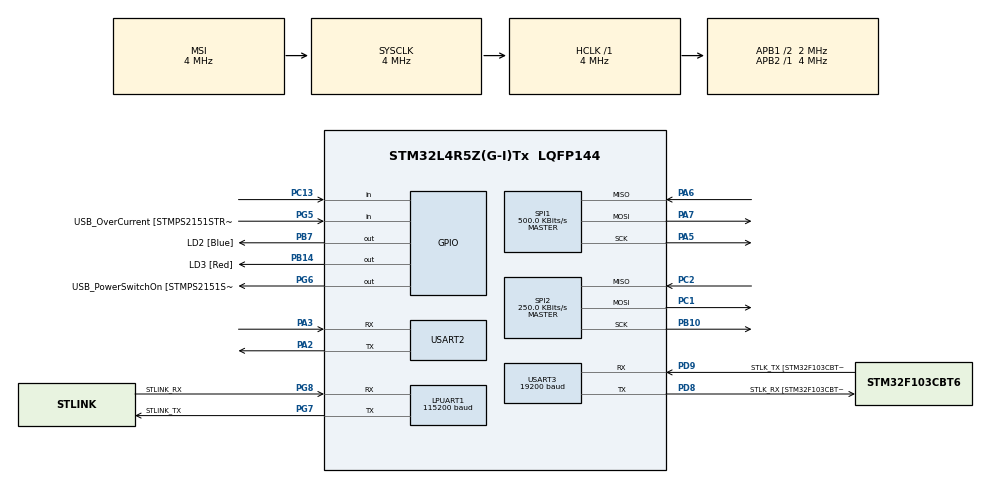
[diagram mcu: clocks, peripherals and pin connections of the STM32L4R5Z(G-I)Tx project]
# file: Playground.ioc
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LPUART1.BaudRate=115200
LPUART1.WordLength=UART_WORDLENGTH_8B
Mcu.Family=STM32L4
Mcu.Name=STM32L4R5Z(G-I)Tx
Mcu.Package=LQFP144
NVIC.PriorityGroup=NVIC_PRIORITYGROUP_4
PA10.GPIO_Label=USB_ID
PA10.Signal=USB_OTG_FS_ID
PA11.GPIO_Label=USB_DM
PA11.Signal=USB_OTG_FS_DM
PA12.GPIO_Label=USB_DP
PA12.Signal=USB_OTG_FS_DP
PA13\ (JTMS/SWDIO).GPIO_Label=TMS
PA13\ (JTMS/SWDIO).Mode=Trace_Asynchronous_SW
PA13\ (JTMS/SWDIO).Signal=SYS_JTMS-SWDIO
PA14\ (JTCK/SWCLK).GPIO_Label=TCK
PA14\ (JTCK/SWCLK).Mode=Trace_Asynchronous_SW
PA14\ (JTCK/SWCLK).Signal=SYS_JTCK-SWCLK
PA2.Mode=Asynchronous
PA2.Signal=USART2_TX
PA3.Mode=Asynchronous
PA3.Signal=USART2_RX
PA5.Mode=Full_Duplex_Master
PA5.Signal=SPI1_SCK
PA6.Mode=Full_Duplex_Master
PA6.Signal=SPI1_MISO
PA7.Mode=Full_Duplex_Master
PA7.Signal=SPI1_MOSI
PA8.GPIO_Label=USB_SOF [TP1]
PA8.Signal=USB_OTG_FS_SOF
PA9.GPIO_Label=USB_VBUS
PA9.Signal=USB_OTG_FS_VBUS
PB10.Mode=Full_Duplex_Master
PB10.Signal=SPI2_SCK
PB14.GPIO_Label=LD3 [Red]
PB14.Signal=GPIO_Output
PB3\ (JTDO/TRACESWO).GPIO_Label=SWO
PB3\ (JTDO/TRACESWO).Mode=Trace_Asynchronous_SW
PB3\ (JTDO/TRACESWO).Signal=SYS_JTDO-SWO
PB7.GPIO_Label=LD2 [Blue]
PB7.Signal=GPIO_Output
PC1.Mode=Full_Duplex_Master
PC1.Signal=SPI2_MOSI
PC13.Signal=GPIO_Input
PC14-OSC32_IN\ (PC14).Mode=LSE-External-Oscillator
PC14-OSC32_IN\ (PC14).Signal=RCC_OSC32_IN
PC15-OSC32_OUT\ (PC15).Mode=LSE-External-Oscillator
PC15-OSC32_OUT\ (PC15).Signal=RCC_OSC32_OUT
PC2.Mode=Full_Duplex_Master
PC2.Signal=SPI2_MISO
PD8.GPIO_Label=STLK_RX [STM32F103CBT6_PA3]
PD8.Mode=Asynchronous
PD8.Signal=USART3_TX
PD9.GPIO_Label=STLK_TX [STM32F103CBT6_PA2]
PD9.Mode=Asynchronous
PD9.Signal=USART3_RX
PG5.GPIO_Label=USB_OverCurrent [STMPS2151STR_FAULT]
PG5.Signal=GPIO_Input
PG6.GPIO_Label=USB_PowerSwitchOn [STMPS2151STR_En]
PG6.Signal=GPIO_Output
PG7.GPIO_Label=STLINK_TX
PG7.Mode=Asynchronous
PG7.Signal=LPUART1_TX
PG8.GPIO_Label=STLINK_RX
PG8.Mode=Asynchronous
PG8.Signal=LPUART1_RX
PH0-OSC_IN\ (PH0).Mode=HSE-External-Clock-Source
PH0-OSC_IN\ (PH0).Signal=RCC_OSC_IN
PH1-OSC_OUT\ (PH1).Signal=RCC_OSC_OUT
ProjectManager.HeapSize=0x200
ProjectManager.StackSize=0x400
ProjectManager.TargetToolchain=STM32CubeIDE
RCC.48MHZClocksFreq_Value=24000000
RCC.AHBFreq_Value=4000000
RCC.APB1CLKDivider=RCC_HCLK_DIV2
RCC.APB1Freq_Value=2000000
RCC.APB1TimFreq_Value=4000000
RCC.APB2Freq_Value=4000000
RCC.APB2TimFreq_Value=4000000
RCC.CortexFreq_Value=4000000
RCC.HCLKFreq_Value=4000000
RCC.HSE_VALUE=8000000
RCC.HSI48_VALUE=48000000
RCC.HSI_VALUE=16000000
RCC.MSI_VALUE=4000000
RCC.PLLMUL=RCC_PLL_MUL9
RCC.PRESCALERUSB=RCC_USBCLKSOURCE_PLL_DIV1_5
RCC.SYSCLKFreq_VALUE=4000000
RCC.SYSCLKSourceVirtual=RCC_SYSCLKSOURCE_PLLCLK
RCC.USBFreq_Value=16000000
RCC.VCOOutputFreq_Value=32000000
SPI1.BaudRatePrescaler=SPI_BAUDRATEPRESCALER_8
SPI1.CalculateBaudRate=500.0 KBits/s
SPI1.DataSize=SPI_DATASIZE_8BIT
SPI1.Direction=SPI_DIRECTION_2LINES
SPI1.Mode=SPI_MODE_MASTER
SPI1.VirtualType=VM_MASTER
SPI2.BaudRatePrescaler=SPI_BAUDRATEPRESCALER_8
SPI2.CalculateBaudRate=250.0 KBits/s
SPI2.DataSize=SPI_DATASIZE_8BIT
SPI2.Direction=SPI_DIRECTION_2LINES
SPI2.Mode=SPI_MODE_MASTER
SPI2.VirtualType=VM_MASTER
USART2.VirtualMode-Asynchronous=VM_ASYNC
USART3.BaudRate=19200
USART3.VirtualMode-Asynchronous=VM_ASYNC
board=NUCLEO-L4R5ZI

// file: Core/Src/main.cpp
/* USER CODE BEGIN Header */
/**
 ******************************************************************************
 * @file           : main.c
 * @brief          : Main program body
 ******************************************************************************
 * @attention
 *
 * Copyright (c) 2025 STMicroelectronics.
 * All rights reserved.
 *
 * This software is licensed under terms that can be found in the LICENSE file
 * in the root directory of this software component.
 * If no LICENSE file comes with this software, it is provided AS-IS.
 *
 ******************************************************************************
 */
/* USER CODE END Header */
#include "main.h"

/* USER CODE BEGIN Includes */
#include <cstdio>
#include "Pixy2UART.h"
#include "Playground.h"
/* USER CODE END Includes */

UART_HandleTypeDef hlpuart1;
UART_HandleTypeDef huart2;
UART_HandleTypeDef huart3;

SPI_HandleTypeDef hspi1;
SPI_HandleTypeDef hspi2;

/* USER CODE BEGIN PV */
APA102_LED led_strip[NUM_LEDS];
Pixy2UART pixy;
enum GameState {
	INIT, START_RUN, IN_RUN, END_RUN
};
GameState game_state = INIT;
Car car_arry[NUM_CARS];
Playground playground;
uint32_t run_start_time;
int num_run = 0;
/* USER CODE END PV */

void SystemClock_Config(void);
static void MX_GPIO_Init(void);
static void MX_USART2_UART_Init(void);
static void MX_SPI1_Init(void);
static void MX_USART3_UART_Init(void);
static void MX_LPUART1_UART_Init(void);
static void MX_SPI2_Init(void);
/* USER CODE BEGIN PFP */
void DWT_Init(void);
bool is_button_pressed();

/* USER CODE END PFP */

int main(void)
{

  /* MCU Configuration--------------------------------------------------------*/

  /* Reset of all peripherals, Initializes the Flash interface and the Systick. */
  HAL_Init();

  /* Configure the system clock */
  SystemClock_Config();

  /* Initialize all configured peripherals */
  MX_GPIO_Init();
  MX_USART2_UART_Init();
  MX_SPI1_Init();
  MX_USART3_UART_Init();
  MX_LPUART1_UART_Init();
  MX_SPI2_Init();
  /* USER CODE BEGIN 2 */
	DWT_Init();

	playground.init();
  /* USER CODE END 2 */

  /* Infinite loop */
	while (1) {

    /* USER CODE BEGIN 3 */
		switch (game_state) {
			case INIT:{
				/* Start a new round when the blue button is pressed */
				if (is_button_pressed()) {
					game_state = START_RUN;
				} else {
					game_state = INIT;
				}
				playground.clear();
				HAL_Delay(200);
				playground.start_video();
				num_run = 0;

				break;
			}
			case START_RUN: {
				/* Randomly choose 10 lights to light up */
				playground.clear();
				playground.generate_random_spots(NUM_SPOTS);
				game_state = IN_RUN;
				run_start_time = HAL_GetTick();
				break;
			}
			case IN_RUN: {
				/* Capture the position from PixyCam */
				pixy.ccc.getBlocks();

				/* Update each car's position */
				for (int i = 0; i < NUM_CARS; i++)
					car_arry[i].clear_position();

				uint8_t num_blocks = pixy.ccc.numBlocks;
				if (num_blocks) {
					for (int i = 0; i < num_blocks; i++) {

						uint16_t sig = pixy.ccc.blocks[i].m_signature;
						uint16_t x = pixy.ccc.blocks[i].m_x;
						uint16_t y = pixy.ccc.blocks[i].m_y;
						printf("Detected Block: sig: %d, x: %d, y:%d.\r\n",sig,x,y);
						car_arry[sig - 1].update_position(x, y);
					}

					/* Check occupancies for each spot */
					for (int i = 0; i < NUM_LEDS; i++) {
						for (int j = 0; j < NUM_CARS; j++) {
							int is_occupied = playground.check_occupency(i, car_arry[j].get_position());
							if (is_occupied)
								playground.occupy(i, j);
						}
					}
				}

				/* If timeout or all spots are occupied, end this run */
				if (HAL_GetTick() - run_start_time > RUN_TIMEOUT
						|| playground.is_all_occupied()) {
					HAL_Delay(500);
					game_state = END_RUN;
				}

				break;
			}
			case END_RUN:{
				/* update the number of runs and clear the playground */
				num_run++;
				playground.clear();
				/* if all NUM_RUNS has finished, display the winner */
				if (num_run >= NUM_RUNS) {
					playground.display_result();
					game_state = INIT;
					HAL_Delay(5000);

				} else {
					game_state = START_RUN;
					HAL_Delay(100);
				}

				break;
			}
			default:
				break;
		}
	}
  /* USER CODE END 3 */
}

void SystemClock_Config(void)
{
  RCC_OscInitTypeDef RCC_OscInitStruct = {0};
  RCC_ClkInitTypeDef RCC_ClkInitStruct = {0};

  /** Configure the main internal regulator output voltage
  */
  if (HAL_PWREx_ControlVoltageScaling(PWR_REGULATOR_VOLTAGE_SCALE1) != HAL_OK)
  {
    Error_Handler();
  }

  /** Initializes the RCC Oscillators according to the specified parameters
  * in the RCC_OscInitTypeDef structure.
  */
  RCC_OscInitStruct.OscillatorType = RCC_OSCILLATORTYPE_MSI;
  RCC_OscInitStruct.MSIState = RCC_MSI_ON;
  RCC_OscInitStruct.MSICalibrationValue = 0;
  RCC_OscInitStruct.MSIClockRange = RCC_MSIRANGE_6;
  RCC_OscInitStruct.PLL.PLLState = RCC_PLL_NONE;
  if (HAL_RCC_OscConfig(&RCC_OscInitStruct) != HAL_OK)
  {
    Error_Handler();
  }

  /** Initializes the CPU, AHB and APB buses clocks
  */
  RCC_ClkInitStruct.ClockType = RCC_CLOCKTYPE_HCLK|RCC_CLOCKTYPE_SYSCLK
                              |RCC_CLOCKTYPE_PCLK1|RCC_CLOCKTYPE_PCLK2;
  RCC_ClkInitStruct.SYSCLKSource = RCC_SYSCLKSOURCE_MSI;
  RCC_ClkInitStruct.AHBCLKDivider = RCC_SYSCLK_DIV1;
  RCC_ClkInitStruct.APB1CLKDivider = RCC_HCLK_DIV2;
  RCC_ClkInitStruct.APB2CLKDivider = RCC_HCLK_DIV1;

  if (HAL_RCC_ClockConfig(&RCC_ClkInitStruct, FLASH_LATENCY_0) != HAL_OK)
  {
    Error_Handler();
  }
}

static void MX_LPUART1_UART_Init(void)
{

  hlpuart1.Instance = LPUART1;
  hlpuart1.Init.BaudRate = 115200;
  hlpuart1.Init.WordLength = UART_WORDLENGTH_8B;
  hlpuart1.Init.StopBits = UART_STOPBITS_1;
  hlpuart1.Init.Parity = UART_PARITY_NONE;
  hlpuart1.Init.Mode = UART_MODE_TX_RX;
  hlpuart1.Init.HwFlowCtl = UART_HWCONTROL_NONE;
  hlpuart1.Init.OneBitSampling = UART_ONE_BIT_SAMPLE_DISABLE;
  hlpuart1.Init.ClockPrescaler = UART_PRESCALER_DIV1;
  hlpuart1.AdvancedInit.AdvFeatureInit = UART_ADVFEATURE_NO_INIT;
  hlpuart1.FifoMode = UART_FIFOMODE_DISABLE;
  if (HAL_UART_Init(&hlpuart1) != HAL_OK)
  {
    Error_Handler();
  }
  if (HAL_UARTEx_SetTxFifoThreshold(&hlpuart1, UART_TXFIFO_THRESHOLD_1_8) != HAL_OK)
  {
    Error_Handler();
  }
  if (HAL_UARTEx_SetRxFifoThreshold(&hlpuart1, UART_RXFIFO_THRESHOLD_1_8) != HAL_OK)
  {
    Error_Handler();
  }
  if (HAL_UARTEx_DisableFifoMode(&hlpuart1) != HAL_OK)
  {
    Error_Handler();
  }

}

static void MX_USART2_UART_Init(void)
{

  huart2.Instance = USART2;
  huart2.Init.BaudRate = 115200;
  huart2.Init.WordLength = UART_WORDLENGTH_8B;
  huart2.Init.StopBits = UART_STOPBITS_1;
  huart2.Init.Parity = UART_PARITY_NONE;
  huart2.Init.Mode = UART_MODE_TX_RX;
  huart2.Init.HwFlowCtl = UART_HWCONTROL_NONE;
  huart2.Init.OverSampling = UART_OVERSAMPLING_16;
  huart2.Init.OneBitSampling = UART_ONE_BIT_SAMPLE_DISABLE;
  huart2.Init.ClockPrescaler = UART_PRESCALER_DIV1;
  huart2.AdvancedInit.AdvFeatureInit = UART_ADVFEATURE_NO_INIT;
  if (HAL_UART_Init(&huart2) != HAL_OK)
  {
    Error_Handler();
  }
  if (HAL_UARTEx_SetTxFifoThreshold(&huart2, UART_TXFIFO_THRESHOLD_1_8) != HAL_OK)
  {
    Error_Handler();
  }
  if (HAL_UARTEx_SetRxFifoThreshold(&huart2, UART_RXFIFO_THRESHOLD_1_8) != HAL_OK)
  {
    Error_Handler();
  }
  if (HAL_UARTEx_DisableFifoMode(&huart2) != HAL_OK)
  {
    Error_Handler();
  }

}

static void MX_USART3_UART_Init(void)
{

  huart3.Instance = USART3;
  huart3.Init.BaudRate = 19200;
  huart3.Init.WordLength = UART_WORDLENGTH_8B;
  huart3.Init.StopBits = UART_STOPBITS_1;
  huart3.Init.Parity = UART_PARITY_NONE;
  huart3.Init.Mode = UART_MODE_TX_RX;
  huart3.Init.HwFlowCtl = UART_HWCONTROL_NONE;
  huart3.Init.OverSampling = UART_OVERSAMPLING_16;
  huart3.Init.OneBitSampling = UART_ONE_BIT_SAMPLE_DISABLE;
  huart3.Init.ClockPrescaler = UART_PRESCALER_DIV1;
  huart3.AdvancedInit.AdvFeatureInit = UART_ADVFEATURE_NO_INIT;
  if (HAL_UART_Init(&huart3) != HAL_OK)
  {
    Error_Handler();
  }
  if (HAL_UARTEx_SetTxFifoThreshold(&huart3, UART_TXFIFO_THRESHOLD_1_8) != HAL_OK)
  {
    Error_Handler();
  }
  if (HAL_UARTEx_SetRxFifoThreshold(&huart3, UART_RXFIFO_THRESHOLD_1_8) != HAL_OK)
  {
    Error_Handler();
  }
  if (HAL_UARTEx_DisableFifoMode(&huart3) != HAL_OK)
  {
    Error_Handler();
  }

}

static void MX_SPI1_Init(void)
{

  /* SPI1 parameter configuration*/
  hspi1.Instance = SPI1;
  hspi1.Init.Mode = SPI_MODE_MASTER;
  hspi1.Init.Direction = SPI_DIRECTION_2LINES;
  hspi1.Init.DataSize = SPI_DATASIZE_8BIT;
  hspi1.Init.CLKPolarity = SPI_POLARITY_LOW;
  hspi1.Init.CLKPhase = SPI_PHASE_1EDGE;
  hspi1.Init.NSS = SPI_NSS_SOFT;
  hspi1.Init.BaudRatePrescaler = SPI_BAUDRATEPRESCALER_8;
  hspi1.Init.FirstBit = SPI_FIRSTBIT_MSB;
  hspi1.Init.TIMode = SPI_TIMODE_DISABLE;
  hspi1.Init.CRCCalculation = SPI_CRCCALCULATION_DISABLE;
  hspi1.Init.CRCPolynomial = 7;
  hspi1.Init.CRCLength = SPI_CRC_LENGTH_DATASIZE;
  hspi1.Init.NSSPMode = SPI_NSS_PULSE_ENABLE;
  if (HAL_SPI_Init(&hspi1) != HAL_OK)
  {
    Error_Handler();
  }

}

static void MX_SPI2_Init(void)
{

  /* SPI2 parameter configuration*/
  hspi2.Instance = SPI2;
  hspi2.Init.Mode = SPI_MODE_MASTER;
  hspi2.Init.Direction = SPI_DIRECTION_2LINES;
  hspi2.Init.DataSize = SPI_DATASIZE_8BIT;
  hspi2.Init.CLKPolarity = SPI_POLARITY_LOW;
  hspi2.Init.CLKPhase = SPI_PHASE_1EDGE;
  hspi2.Init.NSS = SPI_NSS_SOFT;
  hspi2.Init.BaudRatePrescaler = SPI_BAUDRATEPRESCALER_8;
  hspi2.Init.FirstBit = SPI_FIRSTBIT_MSB;
  hspi2.Init.TIMode = SPI_TIMODE_DISABLE;
  hspi2.Init.CRCCalculation = SPI_CRCCALCULATION_DISABLE;
  hspi2.Init.CRCPolynomial = 7;
  hspi2.Init.CRCLength = SPI_CRC_LENGTH_DATASIZE;
  hspi2.Init.NSSPMode = SPI_NSS_PULSE_ENABLE;
  if (HAL_SPI_Init(&hspi2) != HAL_OK)
  {
    Error_Handler();
  }

}

static void MX_GPIO_Init(void)
{
  GPIO_InitTypeDef GPIO_InitStruct = {0};

  /* GPIO Ports Clock Enable */
  __HAL_RCC_GPIOC_CLK_ENABLE();
  __HAL_RCC_GPIOH_CLK_ENABLE();
  __HAL_RCC_GPIOA_CLK_ENABLE();
  __HAL_RCC_GPIOB_CLK_ENABLE();
  __HAL_RCC_GPIOD_CLK_ENABLE();
  __HAL_RCC_GPIOG_CLK_ENABLE();
  HAL_PWREx_EnableVddIO2();

  /*Configure GPIO pin Output Level */
  HAL_GPIO_WritePin(GPIOB, LD3_Pin|LD2_Pin, GPIO_PIN_RESET);

  /*Configure GPIO pin Output Level */
  HAL_GPIO_WritePin(USB_PowerSwitchOn_GPIO_Port, USB_PowerSwitchOn_Pin, GPIO_PIN_RESET);

  /*Configure GPIO pin : PC13 */
  GPIO_InitStruct.Pin = GPIO_PIN_13;
  GPIO_InitStruct.Mode = GPIO_MODE_INPUT;
  GPIO_InitStruct.Pull = GPIO_NOPULL;
  HAL_GPIO_Init(GPIOC, &GPIO_InitStruct);

  /*Configure GPIO pins : LD3_Pin LD2_Pin */
  GPIO_InitStruct.Pin = LD3_Pin|LD2_Pin;
  GPIO_InitStruct.Mode = GPIO_MODE_OUTPUT_PP;
  GPIO_InitStruct.Pull = GPIO_NOPULL;
  GPIO_InitStruct.Speed = GPIO_SPEED_FREQ_LOW;
  HAL_GPIO_Init(GPIOB, &GPIO_InitStruct);

  /*Configure GPIO pin : USB_OverCurrent_Pin */
  GPIO_InitStruct.Pin = USB_OverCurrent_Pin;
  GPIO_InitStruct.Mode = GPIO_MODE_INPUT;
  GPIO_InitStruct.Pull = GPIO_NOPULL;
  HAL_GPIO_Init(USB_OverCurrent_GPIO_Port, &GPIO_InitStruct);

  /*Configure GPIO pin : USB_PowerSwitchOn_Pin */
  GPIO_InitStruct.Pin = USB_PowerSwitchOn_Pin;
  GPIO_InitStruct.Mode = GPIO_MODE_OUTPUT_PP;
  GPIO_InitStruct.Pull = GPIO_NOPULL;
  GPIO_InitStruct.Speed = GPIO_SPEED_FREQ_LOW;
  HAL_GPIO_Init(USB_PowerSwitchOn_GPIO_Port, &GPIO_InitStruct);

  /*Configure GPIO pins : USB_SOF_Pin USB_ID_Pin USB_DM_Pin USB_DP_Pin */
  GPIO_InitStruct.Pin = USB_SOF_Pin|USB_ID_Pin|USB_DM_Pin|USB_DP_Pin;
  GPIO_InitStruct.Mode = GPIO_MODE_AF_PP;
  GPIO_InitStruct.Pull = GPIO_NOPULL;
  GPIO_InitStruct.Speed = GPIO_SPEED_FREQ_VERY_HIGH;
  GPIO_InitStruct.Alternate = GPIO_AF10_OTG_FS;
  HAL_GPIO_Init(GPIOA, &GPIO_InitStruct);

  /*Configure GPIO pin : USB_VBUS_Pin */
  GPIO_InitStruct.Pin = USB_VBUS_Pin;
  GPIO_InitStruct.Mode = GPIO_MODE_INPUT;
  GPIO_InitStruct.Pull = GPIO_NOPULL;
  HAL_GPIO_Init(USB_VBUS_GPIO_Port, &GPIO_InitStruct);

}

/* USER CODE BEGIN 4 */
#ifdef __GNUC__
#define PUTCHAR_PROTOTYPE int __io_putchar(int ch)
#else
#define PUTCHAR_PROTOTYPE int fputc(int ch, FILE *f)
#endif /* __GNUC__ */
PUTCHAR_PROTOTYPE {
	HAL_UART_Transmit(&hlpuart1, (uint8_t*) &ch, 1, 0xFFFF);
	return ch;
}

void DWT_Init(void) {
	CoreDebug->DEMCR |= CoreDebug_DEMCR_TRCENA_Msk;  // Enable DWT
	DWT->CYCCNT = 0;                                 // Reset counter
	DWT->CTRL |= DWT_CTRL_CYCCNTENA_Msk;             // Enable the cycle counter
}

bool is_button_pressed() {
	static uint32_t last_press_time = 0;
	static bool last_button_state = false;

	// Read current state
	bool current_state = (HAL_GPIO_ReadPin(GPIOC, GPIO_PIN_13) == GPIO_PIN_RESET);

	// Debounce logic
	if (current_state && !last_button_state) {
		if ((HAL_GetTick() - last_press_time) > DEBOUNCE_TIME_MS) {
			last_press_time = HAL_GetTick();
			last_button_state = true;
			return true;
		}
	}

	// Update state
	last_button_state = current_state;
	return false;
}

/* USER CODE END 4 */

void Error_Handler(void)
{
	__disable_irq();
	while (1) {
	}
}
